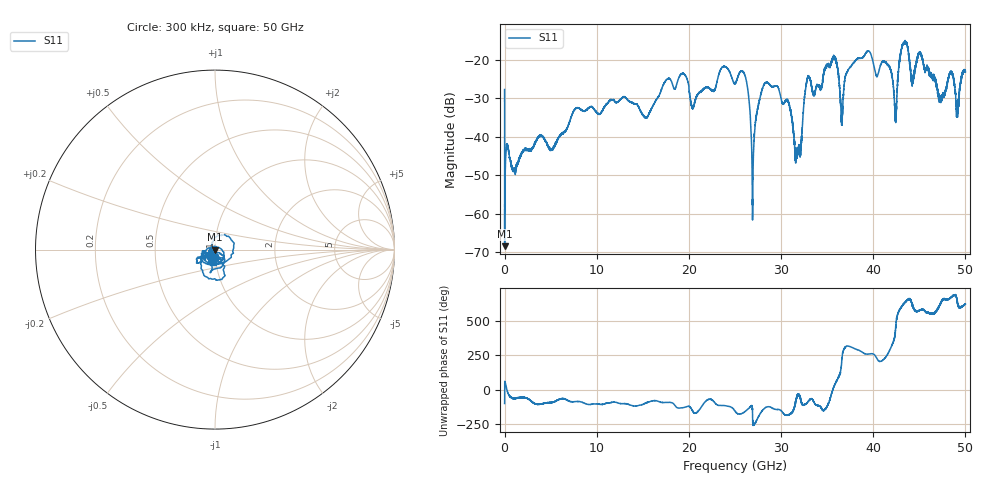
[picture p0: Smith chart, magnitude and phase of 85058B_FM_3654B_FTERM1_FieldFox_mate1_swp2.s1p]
!Created with skrf (http://scikit-rf.org).
# Hz S RI R 50.0
!freq ReS11 ImS11
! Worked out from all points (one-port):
!   10001 points, 300 kHz to 50 GHz, reference 50 ohm
!   lowest |S11| = -68.5 dB at 5.3 MHz (marker M1), VSWR 1.00, Z = 50 - j0.0377 ohm
!   |S11| at or under -10 dB: start of sweep to end of sweep
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300000  -0.00604 -0.0408
5299970  1.48e-05 -0.000377
9.802941e8  0.00167 -0.0034
6.250262e9  0.00527 -0.0099
1.250022e10  -0.00441 -0.03
1.536521e10  -0.000893 -0.0177
1.875019e10  -0.0329 -0.0404
2.042018e10  -0.0213 -0.0104
2.370516e10  -0.0314 -0.0756
2.500015e10  -0.0449 -0.0221
2.613514e10  -0.0542 -0.0261
2.694514e10  -0.00132 0.00257
2.834513e10  -0.0305 -0.0407
3.125011e10  -0.0142 -0.00428
3.183511e10  0.00594 -0.00349
3.29301e10  0.00594 -0.061
3.578509e10  0.0913 0.0544
3.659508e10  -0.0114 -0.011
3.750008e10  0.0544 -0.0596
4.136505e10  -0.0488 -0.0793
4.239005e10  0.0121 0.0129
4.309004e10  -0.0659 -0.1237
4.375004e10  0.053 -0.1347
4.423503e10  -0.0189 -0.0455
4.728502e10  -0.00341 -0.0308
4.845001e10  0.0426 -0.0566
4.915001e10  -0.00318 -0.0177
5e10  -0.0114 -0.0688
